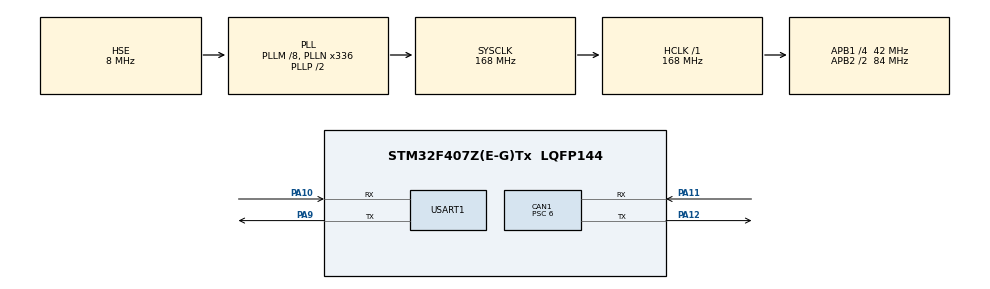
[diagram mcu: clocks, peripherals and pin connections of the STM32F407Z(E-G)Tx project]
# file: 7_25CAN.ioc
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CAN1.BS1=CAN_BS1_2TQ
CAN1.BS2=CAN_BS2_4TQ
CAN1.CalculateBaudRate=1000000
CAN1.CalculateTimeBit=1000
CAN1.CalculateTimeQuantum=142.85714285714286
CAN1.Prescaler=6
Mcu.Family=STM32F4
Mcu.Name=STM32F407Z(E-G)Tx
Mcu.Package=LQFP144
NVIC.PriorityGroup=NVIC_PRIORITYGROUP_4
NVIC.TIM2_IRQn=true\:0\:0\:false\:false\:true\:true\:true\:true
NVIC.USART1_IRQn=true\:1\:0\:true\:false\:true\:true\:true\:true
PA10.Mode=Asynchronous
PA10.Signal=USART1_RX
PA11.Mode=CAN_Activate
PA11.Signal=CAN1_RX
PA12.Mode=CAN_Activate
PA12.Signal=CAN1_TX
PA13.Mode=Serial_Wire
PA13.Signal=SYS_JTMS-SWDIO
PA14.Mode=Serial_Wire
PA14.Signal=SYS_JTCK-SWCLK
PA9.Mode=Asynchronous
PA9.Signal=USART1_TX
PH0-OSC_IN.Mode=HSE-External-Oscillator
PH0-OSC_IN.Signal=RCC_OSC_IN
PH1-OSC_OUT.Mode=HSE-External-Oscillator
PH1-OSC_OUT.Signal=RCC_OSC_OUT
ProjectManager.HeapSize=0x200
ProjectManager.StackSize=0x400
ProjectManager.TargetToolchain=MDK-ARM V5
RCC.48MHZClocksFreq_Value=84000000
RCC.AHBFreq_Value=168000000
RCC.APB1CLKDivider=RCC_HCLK_DIV4
RCC.APB1Freq_Value=42000000
RCC.APB1TimFreq_Value=84000000
RCC.APB2CLKDivider=RCC_HCLK_DIV2
RCC.APB2Freq_Value=84000000
RCC.APB2TimFreq_Value=168000000
RCC.CortexFreq_Value=168000000
RCC.HCLKFreq_Value=168000000
RCC.HSE_VALUE=8000000
RCC.HSI_VALUE=16000000
RCC.LSE_VALUE=32768
RCC.PLLM=8
RCC.PLLN=336
RCC.PLLSourceVirtual=RCC_PLLSOURCE_HSE
RCC.SYSCLKFreq_VALUE=168000000
RCC.SYSCLKSource=RCC_SYSCLKSOURCE_PLLCLK
RCC.VCOOutputFreq_Value=336000000
TIM2.AutoReloadPreload=TIM_AUTORELOAD_PRELOAD_ENABLE
TIM2.Period=100-1
TIM2.Prescaler=8400-1
USART1.VirtualMode=VM_ASYNC
VP_TIM2_VS_ClockSourceINT.Mode=Internal
board=custom

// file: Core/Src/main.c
/* USER CODE BEGIN Header */
/**
  ******************************************************************************
  * @file           : main.c
  * @brief          : Main program body
  ******************************************************************************
  * @attention
  *
  * Copyright (c) 2022 STMicroelectronics.
  * All rights reserved.
  *
  * This software is licensed under terms that can be found in the LICENSE file
  * in the root directory of this software component.
  * If no LICENSE file comes with this software, it is provided AS-IS.
  *
  ******************************************************************************
  */
/* USER CODE END Header */
#include "main.h"
#include "can.h"
#include "tim.h"
#include "usart.h"
#include "gpio.h"

/* USER CODE BEGIN Includes */
#include "motor.h"
#include "pid.h"
/* USER CODE END Includes */

/* USER CODE BEGIN PV */
#define MOTOR_NUM 	1
#define spd_target	2000
PID_TypeDef moto_pid[MOTOR_NUM];
int16_t g = 0;
extern motor_measure_t motor_chassis[8];

/* USER CODE END PV */

void SystemClock_Config(void);

/* USER CODE BEGIN 0 */
//定时器中断函数
void HAL_TIM_PeriodElapsedCallback(TIM_HandleTypeDef *htim)
{

	if(htim == (&htim2))
	{

		Receive_Motor(&hcan1);

		for(g=0;g<MOTOR_NUM;g++)
		{
			//计算pid以及电机控速

			moto_pid[g].target = spd_target;

			moto_pid[g].f_cal_pid(moto_pid+g, motor_chassis[g].speed_rpm);

			Send_Motor(&hcan1, moto_pid[g].output, 0, 0, 0, 0x200, 0x12, CAN_ID_STD, CAN_RTR_DATA, 0x08);
		}

		printf("M1 output speed is %d \r\n", moto_pid[0].output);

	}

}
/* USER CODE END 0 */

int main(void)
{

  /* MCU Configuration--------------------------------------------------------*/

  /* Reset of all peripherals, Initializes the Flash interface and the Systick. */
  HAL_Init();

  /* USER CODE BEGIN Init */
	for(g=0;g<MOTOR_NUM;g++)
	{
		pid_init(moto_pid+g);
	}
//	moto_pid->f_param_init(moto_pid,PID_Speed,16384,5000,5,0,8000,0,2.5,0.12,1);
	moto_pid[0].f_param_init(moto_pid,PID_Speed,16384,1000,5,0,8000,0,2.5,0.12,1);
	printf("PID初始化结束。\r\n");
  /* USER CODE END Init */

  /* Configure the system clock */
  SystemClock_Config();

  /* Initialize all configured peripherals */
  MX_GPIO_Init();
  MX_CAN1_Init();
  MX_USART1_UART_Init();
  MX_TIM2_Init();
  /* USER CODE BEGIN 2 */
  filter1_init();
	HAL_CAN_Start(&hcan1);
	HAL_TIM_Base_Start_IT(&htim2);
//	HAL_CAN_ActivateNotification(&hcan1,CAN_IT_RX_FIFO0_MSG_PENDING);
  /* USER CODE END 2 */

  /* Infinite loop */
  while (1)
  {

    /* USER CODE BEGIN 3 */
//			Send_Motor(&hcan1, moto_pid[0].output, 0, 0, 0, 0x200, 0x12, CAN_ID_STD, CAN_RTR_DATA, 0x08);

  }
  /* USER CODE END 3 */
}

void SystemClock_Config(void)
{
  RCC_OscInitTypeDef RCC_OscInitStruct = {0};
  RCC_ClkInitTypeDef RCC_ClkInitStruct = {0};

  /** Configure the main internal regulator output voltage
  */
  __HAL_RCC_PWR_CLK_ENABLE();
  __HAL_PWR_VOLTAGESCALING_CONFIG(PWR_REGULATOR_VOLTAGE_SCALE1);

  /** Initializes the RCC Oscillators according to the specified parameters
  * in the RCC_OscInitTypeDef structure.
  */
  RCC_OscInitStruct.OscillatorType = RCC_OSCILLATORTYPE_HSE;
  RCC_OscInitStruct.HSEState = RCC_HSE_ON;
  RCC_OscInitStruct.PLL.PLLState = RCC_PLL_ON;
  RCC_OscInitStruct.PLL.PLLSource = RCC_PLLSOURCE_HSE;
  RCC_OscInitStruct.PLL.PLLM = 8;
  RCC_OscInitStruct.PLL.PLLN = 336;
  RCC_OscInitStruct.PLL.PLLP = RCC_PLLP_DIV2;
  RCC_OscInitStruct.PLL.PLLQ = 4;
  if (HAL_RCC_OscConfig(&RCC_OscInitStruct) != HAL_OK)
  {
    Error_Handler();
  }

  /** Initializes the CPU, AHB and APB buses clocks
  */
  RCC_ClkInitStruct.ClockType = RCC_CLOCKTYPE_HCLK|RCC_CLOCKTYPE_SYSCLK
                              |RCC_CLOCKTYPE_PCLK1|RCC_CLOCKTYPE_PCLK2;
  RCC_ClkInitStruct.SYSCLKSource = RCC_SYSCLKSOURCE_PLLCLK;
  RCC_ClkInitStruct.AHBCLKDivider = RCC_SYSCLK_DIV1;
  RCC_ClkInitStruct.APB1CLKDivider = RCC_HCLK_DIV4;
  RCC_ClkInitStruct.APB2CLKDivider = RCC_HCLK_DIV2;

  if (HAL_RCC_ClockConfig(&RCC_ClkInitStruct, FLASH_LATENCY_5) != HAL_OK)
  {
    Error_Handler();
  }
}

void Error_Handler(void)
{
  __disable_irq();
  while (1)
  {
  }
}
